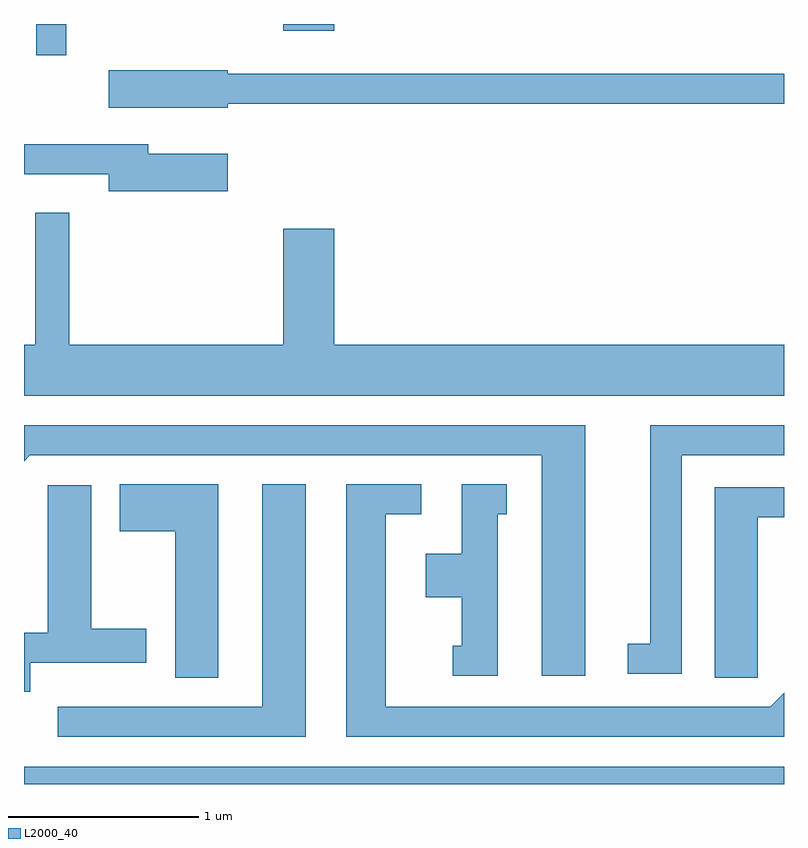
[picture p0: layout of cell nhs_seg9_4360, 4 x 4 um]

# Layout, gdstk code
import gdstk
lib = gdstk.Library(unit=1e-6, precision=1e-09)
def R(c, l, rs):  # rectangles x0, y0, x1, y1
    for r in rs: c.add(gdstk.rectangle(r[:2], r[2:], *l))
def P(c, l, *ps):  # polygons
    for p in ps: c.add(gdstk.Polygon(p, *l))
L2000_40 = (2000, 40)

nhs_seg9_4360 = lib.new_cell('nhs_seg9_4360')
R(nhs_seg9_4360, L2000_40, [(313.611,1996.432,317.611,1996.524), (313.676,2000.268,313.834,2000.432), (314.976,2000.396,315.244,2000.432)])
P(nhs_seg9_4360, L2000_40, [(314.684,2000.011),(317.611,2000.011),(317.611,2000.169),(314.684,2000.169),(314.684,2000.189),(314.056,2000.189),(314.056,1999.991),(314.684,1999.991)],
  [(314.684,1999.749),(314.264,1999.749),(314.264,1999.799),(313.611,1999.799),(313.611,1999.641),(314.056,1999.641),(314.056,1999.551),(314.684,1999.551)],
  [(317.611,1998.744),(315.244,1998.744),(315.244,1999.354),(314.976,1999.354),(314.976,1998.744),(313.849,1998.744),(313.849,1999.439),(313.671,1999.439),(313.671,1998.744),(313.611,1998.744),(313.611,1998.476),(317.611,1998.476)],
  [(317.074,1998.161),(317.611,1998.161),(317.611,1998.319),(316.906,1998.319),(316.906,1997.169),(316.788,1997.169),(316.788,1997.011),(317.074,1997.011)],
  [(316.564,1998.319),(313.611,1998.319),(313.611,1998.13),(313.642,1998.161),(316.336,1998.161),(316.336,1997.001),(316.564,1997.001)],
  [(316.104,1997.851),(316.153,1997.851),(316.153,1998.009),(315.916,1998.009),(315.916,1997.644),(315.726,1997.644),(315.726,1997.416),(315.916,1997.416),(315.916,1997.159),(315.868,1997.159),(315.868,1997.001),(316.104,1997.001)],
  [(317.611,1996.911),(317.539,1996.839),(315.514,1996.839),(315.514,1997.851),(315.703,1997.851),(315.703,1998.009),(315.306,1998.009),(315.306,1996.681),(317.611,1996.681)],
  [(315.094,1998.009),(314.866,1998.009),(314.866,1996.839),(313.788,1996.839),(313.788,1996.681),(315.094,1996.681)],
  [(314.634,1998.009),(314.116,1998.009),(314.116,1997.761),(314.406,1997.761),(314.406,1996.991),(314.634,1996.991)],
  [(313.644,1997.071),(314.254,1997.071),(314.254,1997.249),(313.964,1997.249),(313.964,1998.004),(313.736,1998.004),(313.736,1997.229),(313.611,1997.229),(313.611,1996.918),(313.644,1996.918)],
  [(317.474,1997.836),(317.611,1997.836),(317.611,1997.994),(317.246,1997.994),(317.246,1996.991),(317.474,1996.991)])

lib.write_gds('nhs_seg9_4360.gds')
